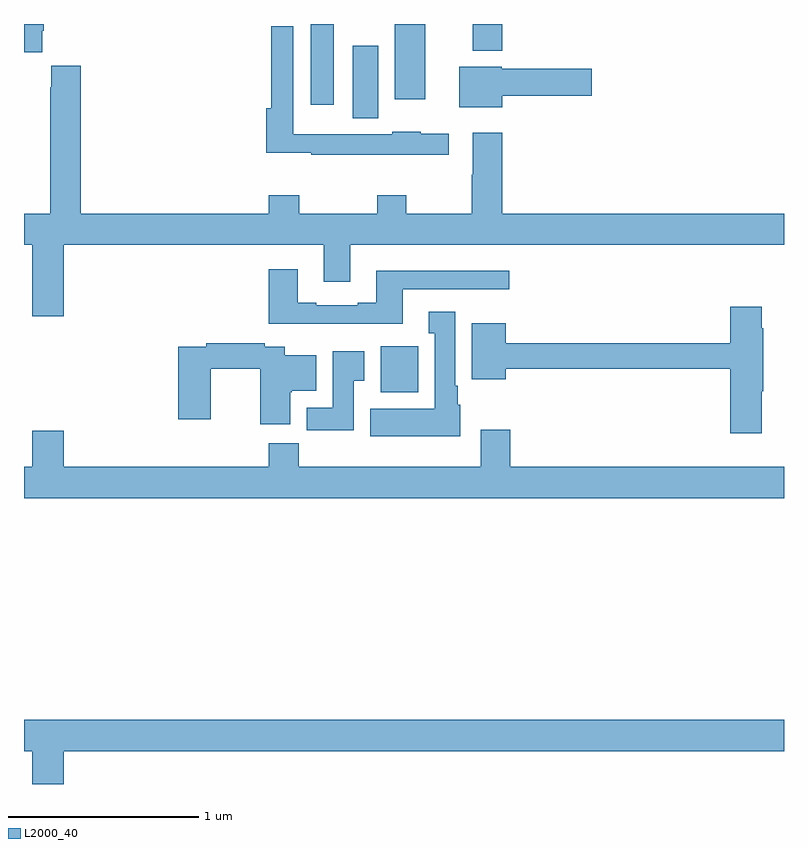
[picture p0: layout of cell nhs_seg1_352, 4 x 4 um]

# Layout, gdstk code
import gdstk
lib = gdstk.Library(unit=1e-6, precision=1e-09)
def R(c, l, rs):  # rectangles x0, y0, x1, y1
    for r in rs: c.add(gdstk.rectangle(r[:2], r[2:], *l))
def P(c, l, *ps):  # polygons
    for p in ps: c.add(gdstk.Polygon(p, *l))
L2000_40 = (2000, 40)

nhs_seg1_352 = lib.new_cell('nhs_seg1_352')
R(nhs_seg1_352, L2000_40, [(130.877,580.262,131.074,580.504), (130.73,581.704,130.864,582.085), (130.508,581.775,130.63,582.199), (130.952,581.802,131.113,582.199), (131.363,582.059,131.516,582.199)])
P(nhs_seg1_352, L2000_40, [(129.097,582.163),(129.104,582.163),(129.104,582.199),(129,582.199),(129,582.051),(129.097,582.051)],
  [(131.236,581.621),(131.088,581.621),(131.088,581.632),(130.938,581.632),(130.938,581.619),(130.626,581.619),(130.626,581.62),(130.416,581.62),(130.416,582.187),(130.3,582.187),(130.3,581.755),(130.274,581.755),(130.274,581.521),(130.513,581.521),(130.513,581.511),(130.838,581.511),(130.838,581.51),(131.236,581.51)],
  [(129.208,581.036),(130.577,581.036),(130.577,580.842),(130.717,580.842),(130.717,581.036),(133,581.036),(133,581.2),(131.516,581.2),(131.516,581.626),(131.363,581.626),(131.363,581.405),(131.356,581.405),(131.356,581.2),(131.013,581.2),(131.013,581.299),(130.858,581.299),(130.858,581.2),(130.449,581.2),(130.449,581.299),(130.289,581.299),(130.289,581.2),(129.299,581.2),(129.299,581.98),(129.143,581.98),(129.143,581.867),(129.139,581.867),(129.139,581.2),(129,581.2),(129,581.036),(129.044,581.036),(129.044,580.662),(129.208,580.662)],
  [(131.518,581.822),(131.989,581.822),(131.989,581.964),(131.514,581.964),(131.514,581.974),(131.291,581.974),(131.291,581.762),(131.518,581.762)],
  [(130.993,580.803),(131.554,580.803),(131.554,580.9),(130.853,580.9),(130.853,580.732),(130.757,580.732),(130.757,580.719),(130.537,580.719),(130.537,580.732),(130.441,580.732),(130.441,580.909),(130.289,580.909),(130.289,580.622),(130.993,580.622)],
  [(132.883,580.267),(132.891,580.267),(132.891,580.598),(132.883,580.598),(132.883,580.711),(132.716,580.711),(132.716,580.52),(131.536,580.52),(131.536,580.624),(131.357,580.624),(131.357,580.328),(131.536,580.328),(131.536,580.384),(132.716,580.384),(132.716,580.044),(132.883,580.044)],
  [(131.296,580.194),(131.284,580.194),(131.284,580.294),(131.269,580.294),(131.269,580.684),(131.129,580.684),(131.129,580.571),(131.162,580.571),(131.162,580.174),(130.823,580.174),(130.823,580.028),(131.296,580.028)],
  [(130.402,580.262),(130.408,580.262),(130.408,580.268),(130.537,580.268),(130.537,580.456),(130.372,580.456),(130.372,580.5),(130.268,580.5),(130.268,580.52),(129.958,580.52),(129.958,580.5),(129.812,580.5),(129.812,580.119),(129.982,580.119),(129.982,580.384),(130.244,580.384),(130.244,580.092),(130.402,580.092)],
  [(130.735,580.321),(130.792,580.321),(130.792,580.477),(130.625,580.477),(130.625,580.18),(130.487,580.18),(130.487,580.062),(130.735,580.062)],
  [(133,579.868),(131.558,579.868),(131.558,580.063),(131.405,580.063),(131.405,579.868),(130.445,579.868),(130.445,579.992),(130.289,579.992),(130.289,579.868),(129.208,579.868),(129.208,580.057),(129.044,580.057),(129.044,579.868),(129,579.868),(129,579.704),(133,579.704)],
  [(129.208,578.372),(133,578.372),(133,578.536),(129,578.536),(129,578.372),(129.044,578.372),(129.044,578.199),(129.208,578.199)])

lib.write_gds('nhs_seg1_352.gds')
